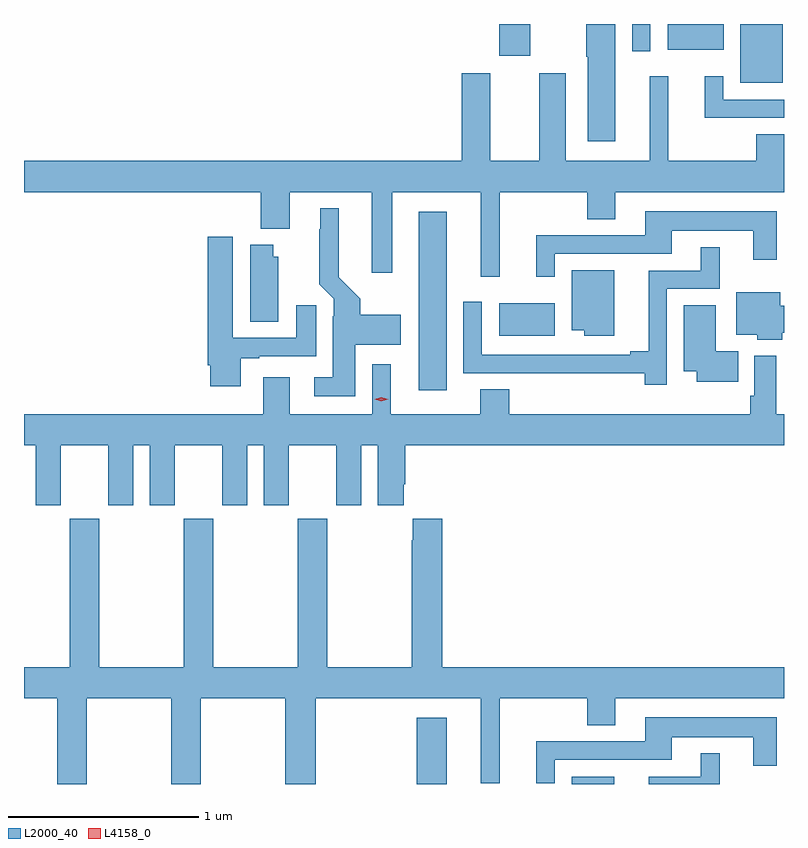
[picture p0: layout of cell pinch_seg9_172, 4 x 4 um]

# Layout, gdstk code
import gdstk
lib = gdstk.Library(unit=1e-6, precision=1e-09)
def R(c, l, rs):  # rectangles x0, y0, x1, y1
    for r in rs: c.add(gdstk.rectangle(r[:2], r[2:], *l))
def P(c, l, *ps):  # polygons
    for p in ps: c.add(gdstk.Polygon(p, *l))
L2000_40 = (2000, 40)
L4158_0 = (4158, 0)

pinch_seg9_172 = lib.new_cell('pinch_seg9_172')
R(pinch_seg9_172, L2000_40, [(684.386,1203.961,684.544,1204.309), (685.202,1203.961,685.426,1204), (684.398,1206.033,684.544,1206.973), (684.821,1206.32,685.114,1206.49), (686.09,1207.652,686.314,1207.961), (684.821,1207.794,684.985,1207.961), (685.521,1207.818,685.617,1207.961), (685.709,1207.826,686.002,1207.961)])
P(pinch_seg9_172, L2000_40, [(685.432,1207.961),(685.279,1207.961),(685.279,1207.789),(685.286,1207.789),(685.286,1207.344),(685.432,1207.344)],
  [(684.824,1207.076),(685.285,1207.076),(685.285,1206.934),(685.432,1206.934),(685.432,1207.076),(686.32,1207.076),(686.32,1207.382),(686.173,1207.382),(686.173,1207.24),(685.712,1207.24),(685.712,1207.687),(685.613,1207.687),(685.613,1207.24),(685.171,1207.24),(685.171,1207.702),(685.031,1207.702),(685.031,1207.24),(684.775,1207.24),(684.775,1207.702),(684.623,1207.702),(684.623,1207.24),(682.32,1207.24),(682.32,1207.076),(683.567,1207.076),(683.567,1206.884),(683.719,1206.884),(683.719,1207.076),(684.149,1207.076),(684.149,1206.651),(684.259,1206.651),(684.259,1207.076),(684.725,1207.076),(684.725,1206.63),(684.824,1206.63)],
  [(686.32,1207.563),(686.001,1207.563),(686.001,1207.687),(685.904,1207.687),(685.904,1207.467),(686.32,1207.467)],
  [(684.064,1206.272),(684.304,1206.272),(684.304,1206.43),(684.09,1206.43),(684.09,1206.515),(683.977,1206.628),(683.977,1206.991),(683.879,1206.991),(683.879,1206.881),(683.875,1206.881),(683.875,1206.59),(683.949,1206.516),(683.949,1206.422),(683.945,1206.422),(683.945,1206.103),(683.847,1206.103),(683.847,1206.002),(684.064,1206.002)],
  [(685.113,1206.753),(685.729,1206.753),(685.729,1206.872),(686.159,1206.872),(686.159,1206.72),(686.281,1206.72),(686.281,1206.976),(685.589,1206.976),(685.589,1206.849),(685.016,1206.849),(685.016,1206.63),(685.113,1206.63)],
  [(683.461,1206.201),(683.557,1206.201),(683.557,1206.213),(683.857,1206.213),(683.857,1206.481),(683.753,1206.481),(683.753,1206.309),(683.419,1206.309),(683.419,1206.841),(683.288,1206.841),(683.288,1206.166),(683.3,1206.166),(683.3,1206.054),(683.461,1206.054)],
  [(683.659,1206.735),(683.632,1206.735),(683.632,1206.799),(683.51,1206.799),(683.51,1206.394),(683.659,1206.394)],
  [(685.704,1206.567),(685.981,1206.567),(685.981,1206.787),(685.883,1206.787),(685.883,1206.663),(685.607,1206.663),(685.607,1206.239),(685.511,1206.239),(685.511,1206.219),(684.729,1206.219),(684.729,1206.499),(684.633,1206.499),(684.633,1206.123),(684.958,1206.123),(684.958,1206.122),(685.588,1206.122),(685.588,1206.063),(685.704,1206.063)],
  [(685.426,1206.664),(685.202,1206.664),(685.202,1206.35),(685.268,1206.35),(685.268,1206.32),(685.426,1206.32)],
  [(686.312,1206.337),(686.32,1206.337),(686.32,1206.479),(686.299,1206.479),(686.299,1206.55),(686.069,1206.55),(686.069,1206.326),(686.178,1206.326),(686.178,1206.299),(686.312,1206.299)],
  [(686.078,1206.238),(685.96,1206.238),(685.96,1206.482),(685.793,1206.482),(685.793,1206.134),(685.862,1206.134),(685.862,1206.077),(686.078,1206.077)],
  [(682.513,1205.744),(682.763,1205.744),(682.763,1205.427),(682.894,1205.427),(682.894,1205.744),(682.982,1205.744),(682.982,1205.427),(683.113,1205.427),(683.113,1205.744),(683.363,1205.744),(683.363,1205.427),(683.494,1205.427),(683.494,1205.744),(683.582,1205.744),(683.582,1205.427),(683.713,1205.427),(683.713,1205.744),(683.963,1205.744),(683.963,1205.427),(684.094,1205.427),(684.094,1205.744),(684.182,1205.744),(684.182,1205.427),(684.319,1205.427),(684.319,1205.539),(684.326,1205.539),(684.326,1205.744),(686.32,1205.744),(686.32,1205.908),(686.279,1205.908),(686.279,1206.214),(686.163,1206.214),(686.163,1206.004),(686.143,1206.004),(686.143,1205.908),(684.875,1205.908),(684.875,1206.038),(684.722,1206.038),(684.722,1205.908),(684.25,1205.908),(684.25,1206.169),(684.153,1206.169),(684.153,1205.908),(683.719,1205.908),(683.719,1206.103),(683.579,1206.103),(683.579,1205.908),(682.32,1205.908),(682.32,1205.744),(682.382,1205.744),(682.382,1205.427),(682.513,1205.427)],
  [(682.65,1204.412),(683.095,1204.412),(683.095,1203.961),(683.25,1203.961),(683.25,1204.412),(683.695,1204.412),(683.695,1203.961),(683.855,1203.961),(683.855,1204.412),(684.725,1204.412),(684.725,1203.966),(684.824,1203.966),(684.824,1204.412),(685.285,1204.412),(685.285,1204.27),(685.432,1204.27),(685.432,1204.412),(686.32,1204.412),(686.32,1204.576),(684.521,1204.576),(684.521,1205.356),(684.365,1205.356),(684.365,1205.243),(684.361,1205.243),(684.361,1204.576),(683.916,1204.576),(683.916,1205.356),(683.761,1205.356),(683.761,1204.576),(683.316,1204.576),(683.316,1205.356),(683.161,1205.356),(683.161,1204.576),(682.716,1204.576),(682.716,1205.356),(682.561,1205.356),(682.561,1204.576),(682.32,1204.576),(682.32,1204.412),(682.495,1204.412),(682.495,1203.961),(682.65,1203.961)],
  [(685.113,1204.089),(685.729,1204.089),(685.729,1204.208),(686.159,1204.208),(686.159,1204.056),(686.281,1204.056),(686.281,1204.312),(685.589,1204.312),(685.589,1204.185),(685.016,1204.185),(685.016,1203.966),(685.113,1203.966)],
  [(685.981,1204.123),(685.883,1204.123),(685.883,1203.999),(685.607,1203.999),(685.607,1203.961),(685.981,1203.961)])
P(pinch_seg9_172, L4158_0, [(684.201,1205.976),(684.165,1205.985),(684.165,1205.985),(684.165,1205.985),(684.2,1205.996),(684.236,1205.987),(684.236,1205.986),(684.236,1205.986)])

lib.write_gds('pinch_seg9_172.gds')
